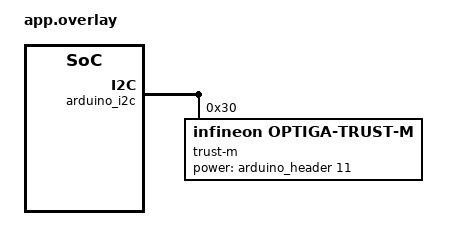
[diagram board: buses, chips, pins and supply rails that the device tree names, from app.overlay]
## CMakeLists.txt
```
# SPDX-License-Identifier: Apache-2.0

cmake_minimum_required(VERSION 3.13.1)

include($ENV{ZEPHYR_BASE}/cmake/app/boilerplate.cmake NO_POLICY_SCOPE)

project(optiga_trust_m)

FILE(GLOB app_sources src/*.c)
target_sources(app PRIVATE ${app_sources})
target_include_directories(app PRIVATE include/)
```

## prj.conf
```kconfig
CONFIG_LOG=y

CONFIG_I2C=y
#CONFIG_STDOUT_CONSOLE=y
CONFIG_DEBUG=y
#CONFIG_UART_CONSOLE=n
#CONFIG_RTT_CONSOLE=y
CONFIG_USE_SEGGER_RTT=n
CONFIG_CRYPTO=y
CONFIG_OPTIGA=y
CONFIG_CRYPTO_LOG_LEVEL_WRN=y
CONFIG_MAIN_STACK_SIZE=4096
CONFIG_LOG_BUFFER_SIZE=2048
CONFIG_ASSERT=y
CONFIG_POLL=y
CONFIG_STACK_CANARIES=y
CONFIG_ENTROPY_GENERATOR=y
CONFIG_HW_STACK_PROTECTION=y
CONFIG_I2C_LOG_LEVEL_OFF=y

# needed for mbedTLS
CONFIG_MINIMAL_LIBC_MALLOC_ARENA_SIZE=1024

# needed for shielded connection
CONFIG_MBEDTLS=y
CONFIG_MBEDTLS_CIPHER_CCM_ENABLED=y
```

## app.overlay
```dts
&arduino_i2c {
    trustx@30 {
        status = "okay";
        compatible = "infineon,optiga-trust-m";
        reg = <0x30>;
        label = "trust-m";
		/* Power control pin (D4) for Infineon MYIOT adapter board Slot 1*/
		/* power-gpios = <&arduino_header 10 GPIO_ACTIVE_HIGH>; */
		/* Power control pin (GPIO1 connected to A3) for Infineon OPTIGA Trust M S2G on MYIOT adapter */
		/* power-gpios = <&arduino_header 3 GPIO_ACTIVE_HIGH>; */
		/* Power control pin (GPIO4 connected to D5) for modified Infineon OPTIGA Trust M S2G on MYIOT adapter Slot 1 */
		power-gpios = <&arduino_header 11 GPIO_ACTIVE_HIGH>;
    };
};
```

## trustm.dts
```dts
&arduino_i2c {
    trustx@30 {
        status = "okay";
        compatible = "infineon,optiga-trust-m";
        reg = <0x30>;
        label = "trust-m";
		/* Power control pin (D4) for Infineon MYIOT adapter board Slot 1*/
		power-gpios = <&arduino_header 10 GPIO_ACTIVE_HIGH>;
    };
};
```

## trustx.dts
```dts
&arduino_i2c {
    trustx@30 {
        status = "okay";
        compatible = "infineon,optiga-trust-x";
        reg = <0x30>;
        label = "trust-x";
    };
};
```

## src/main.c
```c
/*
 * Copyright (c) 2019-2020 Infineon Technologies AG
 *
 * SPDX-License-Identifier: Apache-2.0
 */

#include <zephyr.h>
#include <drivers/crypto/optiga_trust_m.h>

#include <logging/log.h>
LOG_MODULE_REGISTER(main, CONFIG_LOG_DEFAULT_LEVEL);
struct device *dev = NULL;

/* APDU buffer for the command library */
static uint8_t apdu_buf[OPTRUST_CERT_READ_APDU_SIZE] = { 0 };

/* Context for the command library */
static struct optrust_ctx ctx;

static void start_shielded_connection(void)
{
	/* Platform Binding Secret used for this example and testing */
	static const uint8_t psk[OPTRUST_SHIELD_PSK_LEN] = {
		0x00, 0x01, 0x02, 0x03, 0x04, 0x05, 0x06, 0x07, 0x08, 0x09, 0x0A, 0x0B, 0x0C, 0x0D, 0x0E, 0x0F, /* 16 bytes data */
		0x00, 0x01, 0x02, 0x03, 0x04, 0x05, 0x06, 0x07, 0x08, 0x09, 0x0A, 0x0B, 0x0C, 0x0D, 0x0E, 0x0F, /* 16 bytes data */
		0x00, 0x01, 0x02, 0x03, 0x04, 0x05, 0x06, 0x07, 0x08, 0x09, 0x0A, 0x0B, 0x0C, 0x0D, 0x0E, 0x0F, /* 16 bytes data */
		0x00, 0x01, 0x02, 0x03, 0x04, 0x05, 0x06, 0x07, 0x08, 0x09, 0x0A, 0x0B, 0x0C, 0x0D, 0x0E, 0x0F, /* 16 bytes data */
	};

	int64_t start_time = k_uptime_get();

	/*
	 * Set platform binding secret to known value for this example.
	 * In production devices, this would be done in the personalization phase.
	 */
	int res = optrust_data_set(&ctx, OPTRUST_OID_PLATFORM_BINDING_SECRET, true, 0, psk, OPTRUST_SHIELD_PSK_LEN);

	LOG_INF("set platform binding secret res: %d, took %dms", res, (int) k_uptime_delta(&start_time));

	start_time = k_uptime_get();

	/* Start shielded connection */
	res = optrust_shielded_connection_psk_start(&ctx, psk, OPTRUST_SHIELD_PSK_LEN);

	LOG_INF("optrust_shielded_connection_psk_start res: %d, took %dms", res, (int) k_uptime_delta(&start_time));
}

/* A random hash so that we have something to sign */
static const uint8_t test_digest[OPTRUST_SHA256_DIGEST_LEN] = {
	0x7F, 0x83, 0xB1, 0x65, 0x7F, 0xF1, 0xFC, 0x53, 0xB9, 0x2D, 0xC1, 0x81, 0x48, 0xA1, 0xD6, 0x5D,
	0xFC, 0x2D, 0x4B, 0x1F, 0xA3, 0xD6, 0x77, 0x28, 0x4A, 0xDD, 0xD2, 0x00, 0x12, 0x6D, 0x90, 0x69
};

/*
 * In this example, the complete flow of an RSA signature operation is demonstrated.
 * It starts with generating a key pair on the OPTIGA Trust M, continues with the
 * signature operation and finishes with the signature verification.
 */
static void example_rsa()
{
	/* OID to store the secret key */
	const uint16_t sec_key_oid = OPTRUST_OID_RSA_KEY_1;
	const enum OPTRUST_KEY_USAGE_FLAG key_usage = OPTRUST_KEY_USAGE_FLAG_SIGN;
	const enum OPTRUST_ALGORITHM key_alg = OPTRUST_ALGORITHM_RSA_2048;
	const enum OPTRUST_SIGNATURE_SCHEME sig_scheme = OPTRUST_SIGNATURE_SCHEME_PKCS1_v1_5_SHA256;

	uint8_t pub_key[OPTRUST_RSA2048_PUB_KEY_LEN] = { 0 };
	size_t pub_key_len = OPTRUST_RSA2048_PUB_KEY_LEN;

	LOG_INF("Generating RSA key pair, this might take a few seconds");

	int64_t start_time = k_uptime_get();
	int res = optrust_rsa_gen_keys_oid(&ctx, sec_key_oid, key_alg, key_usage, pub_key, &pub_key_len);

	LOG_INF("optrust_rsa_gen_keys_oid res: %d, took %dms", res, (int) k_uptime_delta(&start_time));
	LOG_HEXDUMP_INF(pub_key, pub_key_len, "RSA Public Key:");

	/* Sign some data using RSA */

	uint8_t signature[OPTRUST_RSA2048_SIGNATURE_LEN] = { 0 };
	size_t signature_len = OPTRUST_RSA2048_SIGNATURE_LEN;

	start_time = k_uptime_get();

	/* Use the device key to create a signature */
	res = optrust_rsa_sign_oid(&ctx, sec_key_oid, sig_scheme,
				   test_digest, OPTRUST_SHA256_DIGEST_LEN,
				   signature, &signature_len);

	LOG_INF("optrust_rsa_sign_oid res: %d, took %dms", res, (int) k_uptime_delta(&start_time));
	LOG_HEXDUMP_INF(signature, signature_len, "RSA Signature:");

	/* Verify RSA signature */
	start_time = k_uptime_get();

	res = optrust_rsa_verify_ext(&ctx, sig_scheme,
				     key_alg, pub_key, pub_key_len,
				     test_digest, OPTRUST_SHA256_DIGEST_LEN,
				     signature, signature_len);

	LOG_INF("optrust_rsa_verify_ext res: %d, took %dms", res, (int) k_uptime_delta(&start_time));
	LOG_INF("RSA Verify: %s", res == 0 ? "PASS" : "FAIL");
}

/*
 * In this example, the complete flow of an ECC signature operation is demonstrated.
 * It starts with generating a key pair on the OPTIGA Trust M, continues with the
 * signature operation and finishes with the signature verification.
 */
static void example_ecc()
{
	/* OID to store the secret key, slot 1 is already provisioned */
	const uint16_t sec_key_oid = OPTRUST_OID_ECC_KEY_2;
	const enum OPTRUST_KEY_USAGE_FLAG key_usage = OPTRUST_KEY_USAGE_FLAG_SIGN;
	const enum OPTRUST_ALGORITHM key_alg = OPTRUST_ALGORITHM_NIST_P256;
	uint8_t pub_key[OPTRUST_NIST_P256_PUB_KEY_LEN] = { 0 };
	size_t pub_key_len = OPTRUST_NIST_P256_PUB_KEY_LEN;

	int64_t start_time = k_uptime_get();

	/* Generate an ECC keypair and export the public key */
	int res = optrust_ecc_gen_keys_oid(&ctx, sec_key_oid, key_alg, key_usage, pub_key, &pub_key_len);

	LOG_INF("optrust_ecc_gen_keys_oid res: %d, took %dms", res, (int) k_uptime_delta(&start_time));
	LOG_HEXDUMP_INF(pub_key, OPTRUST_NIST_P256_PUB_KEY_LEN, "Public key:");

	uint8_t signature[OPTRUST_NIST_P256_SIGNATURE_LEN] = { 0 };
	size_t signature_len = OPTRUST_NIST_P256_SIGNATURE_LEN;

	start_time = k_uptime_get();

	/* Use the secret key to create a signature */
	res = optrust_ecdsa_sign_oid(&ctx, sec_key_oid, test_digest, OPTRUST_SHA256_DIGEST_LEN,
				     signature, &signature_len);

	LOG_INF("optrust_ecdsa_sign_oid res: %d, took %dms", res, (int) k_uptime_delta(&start_time));
	LOG_HEXDUMP_INF(signature, OPTRUST_NIST_P256_SIGNATURE_LEN, "Signature:");

	start_time = k_uptime_get();
	/* Verify the generated signature */
	res = optrust_ecdsa_verify_ext(&ctx, key_alg, pub_key, pub_key_len,
				       test_digest, OPTRUST_SHA256_DIGEST_LEN,
				       signature, signature_len);
	LOG_INF("optrust_ecdsa_verify_ext res: %d, took %dms", res, (int) k_uptime_delta(&start_time));
	LOG_INF("ECDSA Verify: %s", res == 0 ? "PASS" : "FAIL");
}

/*
 * In this example, the complete flow of an ECC signature operation when the key is
 * used only temporarlily is described.
 * It starts with generating a key pair on the OPTIGA Trust M in a session context,
 * continues with the signature operation and finishes with the signature verification.
 */
static void example_session_ctx()
{
	/* Acquire a session to temporarily store the key */
	uint16_t sec_key_oid = 0;
	int res = optrust_session_acquire(&ctx, &sec_key_oid);

	if (res != 0) {
		LOG_ERR("Failed to request session context");
		return;
	}

	const enum OPTRUST_KEY_USAGE_FLAG key_usage = OPTRUST_KEY_USAGE_FLAG_SIGN;
	const enum OPTRUST_ALGORITHM key_alg = OPTRUST_ALGORITHM_NIST_P256;
	uint8_t pub_key[OPTRUST_NIST_P256_PUB_KEY_LEN] = { 0 };
	size_t pub_key_len = OPTRUST_NIST_P256_PUB_KEY_LEN;

	int64_t start_time = k_uptime_get();

	/* Generate an ECC private key in the session context and export the public key */
	res = optrust_ecc_gen_keys_oid(&ctx, sec_key_oid, key_alg, key_usage,
				       pub_key, &pub_key_len);

	LOG_INF("optrust_ecc_gen_keys_oid res: %d, took %dms", res, (int) k_uptime_delta(&start_time));
	LOG_HEXDUMP_INF(pub_key, OPTRUST_NIST_P256_PUB_KEY_LEN, "Public key:");

	uint8_t signature[OPTRUST_NIST_P256_SIGNATURE_LEN] = { 0 };
	size_t signature_len = OPTRUST_NIST_P256_SIGNATURE_LEN;

	start_time = k_uptime_get();

	/* Use the secret key in the session context to create a signature */
	res = optrust_ecdsa_sign_oid(&ctx, sec_key_oid, test_digest, OPTRUST_SHA256_DIGEST_LEN,
				     signature, &signature_len);

	LOG_INF("optrust_ecdsa_sign_oid res: %d, took %dms", res, (int) k_uptime_delta(&start_time));
	LOG_HEXDUMP_INF(signature, OPTRUST_NIST_P256_SIGNATURE_LEN, "Signature:");

	start_time = k_uptime_get();
	/* Verify the generated signature */
	res = optrust_ecdsa_verify_ext(&ctx, key_alg, pub_key, pub_key_len,
				       test_digest, OPTRUST_SHA256_DIGEST_LEN,
				       signature, signature_len);
	LOG_INF("optrust_ecdsa_verify_ext res: %d, took %dms", res, (int) k_uptime_delta(&start_time));
	LOG_INF("ECDSA Verify: %s", res == 0 ? "PASS" : "FAIL");

	/* Return the session context to the pool */
	optrust_session_release(&ctx, sec_key_oid);
}

static void example_power()
{
	uint8_t dummy[1] = { 0 };
	size_t dummy_len = 1;

	/* Read some data to make sure OPTIGA Trust M is awake */
	optrust_data_get(&ctx, OPTRUST_OID_COPROCESSOR_UID, 0, dummy, &dummy_len);
	LOG_INF("The OPTIGA Trust M will turn off in a few seconds to save power (Power LED off)");

	k_msleep(10000);

	LOG_INF("The OPTIGA Trust M will automatically turn on, to execute the next command (Power LED on)");
	optrust_data_get(&ctx, OPTRUST_OID_COPROCESSOR_UID, 0, dummy, &dummy_len);
}

void main(void)
{
	LOG_INF("Hello OPTIGA");

	/* Find device in DeviceTree */
	dev = device_get_binding("trust-m");
	if (dev == NULL) {
		LOG_INF("Could not get Trust M device\n");
		return;
	}

	LOG_INF("Found Trust M device");

	int64_t start_time = k_uptime_get();

	/* Initialize the command library */
	int res = optrust_init(&ctx, dev, apdu_buf, OPTRUST_CERT_READ_APDU_SIZE);

	LOG_INF("optrust_init res: %d, took %dms", res, (int) k_uptime_delta(&start_time));

	uint8_t coprocessor_uid[OPTRUST_COPROCESSOR_UID_LEN] = { 0 };
	size_t coprocessor_uid_len = OPTRUST_COPROCESSOR_UID_LEN;

	start_time = k_uptime_get();

	/* Read the Co-Processor UID as a basic test of the Trust M working */
	res = optrust_data_get(&ctx, OPTRUST_OID_COPROCESSOR_UID, 0, coprocessor_uid, &coprocessor_uid_len);

	LOG_INF("optrust_data_get res: %d, took %dms", res, (int) k_uptime_delta(&start_time));
	LOG_HEXDUMP_INF(coprocessor_uid, coprocessor_uid_len, "Co-processor UID:");

	/* Activate Shielded Connection */
	start_shielded_connection();

	/* More detailed examples */
	example_ecc();
	example_rsa();
	example_session_ctx();
	example_power();

	LOG_INF("Examples finished");
}
```

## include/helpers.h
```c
/**
* MIT License
*
* Copyright (c) 2018 Infineon Technologies AG
*
* Permission is hereby granted, free of charge, to any person obtaining a copy
* of this software and associated documentation files (the "Software"), to deal
* in the Software without restriction, including without limitation the rights
* to use, copy, modify, merge, publish, distribute, sublicense, and/or sell
* copies of the Software, and to permit persons to whom the Software is
* furnished to do so, subject to the following conditions:
*
* The above copyright notice and this permission notice shall be included in all
* copies or substantial portions of the Software.
*
* THE SOFTWARE IS PROVIDED "AS IS", WITHOUT WARRANTY OF ANY KIND, EXPRESS OR
* IMPLIED, INCLUDING BUT NOT LIMITED TO THE WARRANTIES OF MERCHANTABILITY,
* FITNESS FOR A PARTICULAR PURPOSE AND NONINFRINGEMENT. IN NO EVENT SHALL THE
* AUTHORS OR COPYRIGHT HOLDERS BE LIABLE FOR ANY CLAIM, DAMAGES OR OTHER
* LIABILITY, WHETHER IN AN ACTION OF CONTRACT, TORT OR OTHERWISE, ARISING FROM,
* OUT OF OR IN CONNECTION WITH THE SOFTWARE OR THE USE OR OTHER DEALINGS IN THE
* SOFTWARE
*
*/

#ifndef APP_TESTS_HELPERS_H_
#define APP_TESTS_HELPERS_H_

#include <stddef.h>
#include <inttypes.h>

int equals(const void * buf1, size_t len1, const void * buf2, size_t len2);
int is_zeroed(const uint8_t * buf, size_t len);

#endif /* APP_TESTS_HELPERS_H_ */
```

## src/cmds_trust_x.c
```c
/*
 * Copyright (c) 2019-2020 Infineon Technologies AG
 *
 * SPDX-License-Identifier: Apache-2.0
 */

#include <zephyr.h>
#include <drivers/crypto/optiga.h>
#include <sys/byteorder.h>

#include "cmds_trust_x.h"
#include "ecdsa_utils.h"

#define LOG_LEVEL CONFIG_CRYPTO_LOG_LEVEL
#include <logging/log.h>
LOG_MODULE_REGISTER(cmds_x);

enum OPTIGA_TRUSTX_CMD {
	OPTIGA_TRUSTX_CMD_GET_DATA_OBJECT =	0x81,
	OPTIGA_TRUSTX_CMD_SET_DATA_OBJECT =	0x82,
	OPTIGA_TRUSTX_CMD_CALC_SIGN =		0xB1,
	OPTIGA_TRUSTX_CMD_VERIFY_SIGN =		0xB2,
	OPTIGA_TRUSTX_CMD_GEN_KEYPAIR =		0xB8,
};

/* Parameters for SetDataObject command, see Table 9 */
enum OPTIGA_TRUSTX_SET_DATA_OBJECT {
	OPTIGA_TRUSTX_SET_DATA_OBJECT_WRITE_DATA = 0x00,
	OPTIGA_TRUSTX_SET_DATA_OBJECT_WRITE_METADATA = 0x01,
	OPTIGA_TRUSTX_SET_DATA_OBJECT_ERASE_WRITE_DATA = 0x40,
};

/* Transmitted APDU fields */
#define OPTIGA_TRUSTX_CMD_OFFSET 0
#define OPTIGA_TRUSTX_PARAM_OFFSET 1
#define OPTIGA_TRUSTX_IN_LEN_OFFSET 2
#define OPTIGA_TRUSTX_IN_DATA_OFFSET 4

#define OPTIGA_TRUSTX_IN_LEN_MAX 0xFFFF

/* Response APDU fields */
#define OPTIGA_TRUSTX_STA_OFFSET 0
#define OPTIGA_TRUSTX_OUT_LEN_OFFSET 2
#define OPTIGA_TRUSTX_OUT_DATA_OFFSET 4

#define SET_TLV_OVERHEAD 3
static size_t set_tlv(u8_t *buf, u8_t tag, const u8_t *val, size_t val_len)
{
	buf[0] = tag;
	sys_put_be16(val_len, &buf[1]);
	memcpy(&buf[3], val, val_len);
	return val_len + SET_TLV_OVERHEAD;
}

#define SET_TLV_U8_LEN 4
static size_t set_tlv_u8(u8_t *buf, u8_t tag, u8_t val)
{
	buf[0] = tag;
	sys_put_be16(1, &buf[1]);
	buf[3] = val;
	return SET_TLV_U8_LEN;
}

#define SET_TLV_U16_LEN 5
static size_t set_tlv_u16(u8_t *buf, u8_t tag, u16_t val)
{
	buf[0] = tag;
	sys_put_be16(2, &buf[1]);
	sys_put_be16(val, &buf[3]);
	return SET_TLV_U16_LEN;
}

static size_t cmds_set_apdu_header(u8_t *apdu_start, enum OPTIGA_TRUSTX_CMD cmd, u8_t param, u16_t in_len)
{
	apdu_start[OPTIGA_TRUSTX_CMD_OFFSET] = cmd;
	apdu_start[OPTIGA_TRUSTX_PARAM_OFFSET] = param;
	sys_put_be16(in_len, &apdu_start[OPTIGA_TRUSTX_IN_LEN_OFFSET]);
	return OPTIGA_TRUSTX_IN_DATA_OFFSET;
}

static size_t cmds_get_apdu_header(u8_t *apdu_start, u8_t *sta, u16_t *out_len)
{
	if (sta) {
		*sta = apdu_start[OPTIGA_TRUSTX_STA_OFFSET];
	}

	if (out_len) {
		*out_len = sys_get_be16(&apdu_start[OPTIGA_TRUSTX_OUT_LEN_OFFSET]);
	}

	return OPTIGA_TRUSTX_IN_DATA_OFFSET;
}


int cmds_trust_x_init(struct cmds_ctx *ctx, struct device *dev, u8_t *apdu_buf, size_t apdu_buf_len)
{
	ctx->dev = dev;
	ctx->apdu_buf = apdu_buf;
	ctx->apdu_buf_len = apdu_buf_len;

	return 0;
}

void cmds_trust_x_free(struct cmds_ctx *ctx)
{
}

static int cmds_submit_apdu(struct cmds_ctx *ctx)
{
	optiga_enqueue_apdu(ctx->dev, &ctx->apdu);

	struct k_poll_event events[1] = {
        K_POLL_EVENT_INITIALIZER(K_POLL_TYPE_SIGNAL,
                                 K_POLL_MODE_NOTIFY_ONLY,
                                 &ctx->apdu.finished),
	};

	k_poll(events, 1, K_FOREVER);
	return events[0].signal->result;
}

#define OPTIGA_GET_DATA_CMD_LEN 10
int cmds_trust_x_get_data_object(struct cmds_ctx *ctx, u16_t oid, size_t offs, u8_t *buf, size_t *len)
{
	u8_t *tx_buf = ctx->apdu_buf;
	__ASSERT(ctx->apdu_buf_len >= OPTIGA_GET_DATA_CMD_LEN, "APDU buffer too small");

	tx_buf += cmds_set_apdu_header(tx_buf,
				OPTIGA_TRUSTX_CMD_GET_DATA_OBJECT,
				0x00, /* Read data */
				0x06 /* Command len, see datasheet Table 8 */);

	/* OID */
	sys_put_be16(oid, tx_buf);
	tx_buf += 2;

	/* Offset */
	sys_put_be16(offs, tx_buf);
	tx_buf += 2;

	/* Length */
	sys_put_be16(*len, tx_buf);
	tx_buf += 2;

	/*
	 * Setup APDU for cmd queue, reuse the tx_buf for receiving,
	 * we don't need the written data
	 */
	ctx->apdu.tx_buf = ctx->apdu_buf;
	ctx->apdu.tx_len = tx_buf - ctx->apdu_buf;
	ctx->apdu.rx_buf = ctx->apdu_buf;
	ctx->apdu.rx_len = ctx->apdu_buf_len;

	int result_code = cmds_submit_apdu(ctx);

	if(result_code != OPTIGA_STATUS_CODE_SUCCESS) {
		LOG_INF("GetDataObject Error Code: %d", result_code);
		return -EIO;
	}

	/* Parse response */

	/* need at least the 4 bytes of response data */
	__ASSERT(ctx->apdu.rx_len >= 4, "Malformed APDU");

	u8_t *rx_buf = ctx->apdu.rx_buf;

	u8_t sta = 0;
	u16_t out_len = 0;
	rx_buf += cmds_get_apdu_header(rx_buf, &sta, &out_len);

	/* Failed APDUs should never reach this layer */
	__ASSERT(sta == 0x00, "Unexpected failed APDU");

	/* Ensure length of APDU and length of buffer match */
	if (out_len != (ctx->apdu.rx_len - OPTIGA_TRUSTX_OUT_DATA_OFFSET)) {
		LOG_ERR("Incomplete APDU");
		return -EIO;
	}

	if(out_len > *len) {
		return -ENOMEM;
	}

	memcpy(buf, rx_buf, out_len);
	*len = out_len;
	return 0;
}

int cmds_trust_x_set_data_object(struct cmds_ctx *ctx, u16_t oid, bool erase, size_t offs, const u8_t *buf, size_t len)
{
	u8_t *tx_buf = ctx->apdu_buf;

	__ASSERT(ctx->apdu_buf_len >= (len + 8), "APDU buffer too small");

	if(len + 4 > OPTIGA_TRUSTX_IN_LEN_MAX) {
		LOG_ERR("Overflow in APDU header");
		return -EINVAL;
	}

	const u8_t param = erase ? OPTIGA_TRUSTX_SET_DATA_OBJECT_ERASE_WRITE_DATA
		: OPTIGA_TRUSTX_SET_DATA_OBJECT_WRITE_DATA;

	tx_buf += cmds_set_apdu_header(tx_buf,
				OPTIGA_TRUSTX_CMD_SET_DATA_OBJECT,
				param, /* Param */
				len + 4 /* Length of the Tx APDU */
			);

	/* OID */
	sys_put_be16(oid, tx_buf);
	tx_buf += 2;

	/* Offset */
	sys_put_be16(offs, tx_buf);
	tx_buf += 2;

	/* Data */
	memcpy(tx_buf, buf, len);
	tx_buf += len;

	/* Setup APDU for cmd queue */
	ctx->apdu.tx_buf = ctx->apdu_buf;
	ctx->apdu.tx_len = tx_buf - ctx->apdu_buf;
	ctx->apdu.rx_buf = tx_buf;
	ctx->apdu.rx_len = ctx->apdu_buf_len - ctx->apdu.tx_len;

	int result_code = cmds_submit_apdu(ctx);

	if(result_code != OPTIGA_STATUS_CODE_SUCCESS) {
		LOG_INF("SetDataObject Error Code: %d", result_code);
		return -EIO;
	}

	return 0;
}

int cmds_trust_x_sign_ecdsa(struct cmds_ctx *ctx, u16_t oid, const u8_t *digest, size_t digest_len, u8_t *signature, size_t signature_len)
{
	u8_t *tx_buf = ctx->apdu_buf;

	__ASSERT(ctx->apdu_buf_len >= (digest_len + 12), "APDU buffer too small");
	if(digest_len + 8 > 0xFFFF) {
		LOG_ERR("Overflow in APDU header");
		return -EINVAL;
	}

	tx_buf += cmds_set_apdu_header(tx_buf,
				OPTIGA_TRUSTX_CMD_CALC_SIGN,
				0x11, /* ECDSA FIPS 186-3 w/o hash */
				digest_len + 8 /* Length of the Tx APDU */
			);

	/* Digest to be signed */
	tx_buf += set_tlv(tx_buf, 0x01, digest, digest_len);

	/* OID of signature key */
	tx_buf += set_tlv_u16(tx_buf, 0x03, oid);

	/* Setup APDU for cmd queue */
	ctx->apdu.tx_buf = ctx->apdu_buf;
	ctx->apdu.tx_len = tx_buf - ctx->apdu_buf;
	ctx->apdu.rx_buf = tx_buf;
	ctx->apdu.rx_len = ctx->apdu_buf_len - ctx->apdu.tx_len;

	int result_code = cmds_submit_apdu(ctx);

	if(result_code != OPTIGA_STATUS_CODE_SUCCESS) {
		LOG_INF("SetDataObject Error Code: %d", result_code);
		return -EIO;
	}

	/* Parse response */

	/* need at least the 4 bytes of response data */
	__ASSERT(ctx->apdu.rx_len >= 4, "Malformed APDU");

	u8_t *rx_buf = ctx->apdu.rx_buf;

	u8_t sta = 0;
	u16_t out_len = 0;
	rx_buf += cmds_get_apdu_header(rx_buf, &sta, &out_len);

	/* Failed APDUs should never reach this layer */
	__ASSERT(sta == 0x00, "Unexpected failed APDU");

	/* Ensure length of APDU and length of buffer match */
	if (out_len != (ctx->apdu.rx_len - OPTIGA_TRUSTX_OUT_DATA_OFFSET)) {
		LOG_ERR("Incomplete APDU");
		return -EIO;
	}

	/* decode to raw RS values */
	bool success = asn1_to_ecdsa_rs(rx_buf, out_len, signature, signature_len);
	if(!success) {
		LOG_ERR("Failed to decode signature");
		return -EIO;
	}

	return 0;
}

int cmds_trust_x_verify_ecdsa_oid(struct cmds_ctx *ctx, u16_t oid, const u8_t *digest, size_t digest_len, const u8_t *signature, size_t signature_len)
{
	u8_t *tx_buf = ctx->apdu_buf;

	__ASSERT(ctx->apdu_buf_len >= (digest_len + 15), "APDU buffer too small");

	tx_buf += OPTIGA_TRUSTX_IN_DATA_OFFSET;

	/* Digest */
	tx_buf += set_tlv(tx_buf, 0x01, digest, digest_len);

	/* Second parameter */
	*tx_buf = 0x02;
	tx_buf++;

	/* we don't know the lenght of the signature data yet, remember the position */
	u8_t * const sig_len_field = tx_buf;
	tx_buf += 2;

	/* Signature */
	__ASSERT((signature_len % 2) == 0, "Signature must have even number of bytes");
	size_t asn1_sig_len = ctx->apdu_buf_len - (ctx->apdu_buf - tx_buf);

	bool success = ecdsa_rs_to_asn1_integers(signature, signature + signature_len/2, signature_len/2, tx_buf, &asn1_sig_len);
	if(!success) {
		LOG_ERR("Couldn't encode signature");
		return -EINVAL;
	}
	tx_buf += asn1_sig_len;

	if(digest_len + 11 + asn1_sig_len > OPTIGA_TRUSTX_IN_LEN_MAX) {
		LOG_ERR("Overflow in APDU header");
		return -EINVAL;
	}

	/* length of signature is known now */
	sys_put_be16(asn1_sig_len, sig_len_field);

	/* length of whole apdu is also known now */
	cmds_set_apdu_header(ctx->apdu_buf,
				OPTIGA_TRUSTX_CMD_VERIFY_SIGN,
				0x11, /* ECDSA FIPS 186-3 w/o hash */
				digest_len + 11 + asn1_sig_len /* Length of the Tx APDU */
			);

	/* OID of Public Key Certificate */
	tx_buf += set_tlv_u16(tx_buf, 0x04, oid);

	/* Setup APDU for cmd queue */
	ctx->apdu.tx_buf = ctx->apdu_buf;
	ctx->apdu.tx_len = tx_buf - ctx->apdu_buf;
	ctx->apdu.rx_buf = tx_buf;
	ctx->apdu.rx_len = ctx->apdu_buf_len - ctx->apdu.tx_len;

	int result_code = cmds_submit_apdu(ctx);

	if(result_code != OPTIGA_STATUS_CODE_SUCCESS) {
		LOG_INF("SetDataObject Error Code: %d", result_code);
		return -EIO;
	}

	/* Parse response */

	/* need at least the 4 bytes of response data */
	__ASSERT(ctx->apdu.rx_len >= 4, "Malformed APDU");

	u8_t *rx_buf = ctx->apdu.rx_buf;

	u8_t sta = 0;
	u16_t out_len = 0;
	cmds_get_apdu_header(rx_buf, &sta, &out_len);

	/* Failed APDUs should never reach this layer */
	__ASSERT(sta == 0x00, "Unexpected failed APDU");
	__ASSERT(out_len == 0, "Unexpected data returned");

	return 0;
}

int cmds_trust_x_gen_key_ecdsa(struct cmds_ctx *ctx, u16_t oid, enum CMDS_TRUSTX_ALGORITHM alg,
				enum CMDS_TRUSTX_KEY_USAGE_FLAG key_usage, u8_t *pub_key, size_t *pub_key_len)
{
	u8_t *tx_buf = ctx->apdu_buf;
	__ASSERT(ctx->apdu_buf_len >= 11, "APDU buffer too small");
	__ASSERT(pub_key_len != NULL, "Invalid NULL pointer");

	switch(alg) {
		case CMDS_TRUSTX_ALGORITHM_NIST_P256:
			if(*pub_key_len < CMDS_TRUSTX_NIST_P256_PUB_KEY_LEN) {
				return -EINVAL;
			}
			*pub_key_len = CMDS_TRUSTX_NIST_P256_PUB_KEY_LEN;
			break;
		case CMDS_TRUSTX_ALGORITHM_NIST_P384:
			if(*pub_key_len < CMDS_TRUSTX_NIST_P384_PUB_KEY_LEN) {
				return -EINVAL;
			}
			*pub_key_len = CMDS_TRUSTX_NIST_P384_PUB_KEY_LEN;
			break;
		default:
			return -EINVAL;
	}


	tx_buf += cmds_set_apdu_header(tx_buf,
				OPTIGA_TRUSTX_CMD_GEN_KEYPAIR,
				alg, /* Key algorithm */
				0x09 /* Command len, see datasheet Table 19 */);

	/* OID */
	tx_buf += set_tlv_u16(tx_buf, 0x01, oid);

	/* Key usage identifier */
	tx_buf += set_tlv_u8(tx_buf, 0x02, key_usage);

	/*
	 * Setup APDU for cmd queue, reuse the tx_buf for receiving,
	 * we don't need the written data
	 */
	ctx->apdu.tx_buf = ctx->apdu_buf;
	ctx->apdu.tx_len = tx_buf - ctx->apdu_buf;
	ctx->apdu.rx_buf = ctx->apdu_buf;
	ctx->apdu.rx_len = ctx->apdu_buf_len;

	int result_code = cmds_submit_apdu(ctx);

	if(result_code != OPTIGA_STATUS_CODE_SUCCESS) {
		LOG_INF("GetDataObject Error Code: %d", result_code);
		return -EIO;
	}

	/* Parse response */

	/* need at least the 4 bytes of response data */
	__ASSERT(ctx->apdu.rx_len >= 4, "Malformed APDU");

	u8_t *rx_buf = ctx->apdu.rx_buf;

	u8_t sta = 0;
	u16_t out_len = 0;
	rx_buf += cmds_get_apdu_header(rx_buf, &sta, &out_len);

	/* Failed APDUs should never reach this layer */
	__ASSERT(sta == 0x00, "Unexpected failed APDU");

	/* Ensure length of APDU and length of buffer match */
	if (out_len != (ctx->apdu.rx_len - OPTIGA_TRUSTX_OUT_DATA_OFFSET)) {
		LOG_ERR("Incomplete APDU");
		return -EIO;
	}

	__ASSERT(rx_buf[0] == 0x02, "Received Key not a pub key");

	// TODO(chr): decide if we can skip ASN.1 decoding
	/* the following decoding routine only works if the public key has a fixed length */
	__ASSERT(out_len == (*pub_key_len + 7), "Assumption about pub key encoding was wrong");
	rx_buf += 3; // skip tag and length
	rx_buf += 4; // skip ASN.1 tag, length and 2 value bytes
	memcpy(pub_key, rx_buf, *pub_key_len);

	return 0;
}
```

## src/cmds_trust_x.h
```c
/*
 * Copyright (c) 2019-2020 Infineon Technologies AG
 *
 * SPDX-License-Identifier: Apache-2.0
 */

#ifndef CMDS_TRUST_X_H_
#define CMDS_TRUST_X_H_

#include <device.h>
#include <zephyr.h>
#include <zephyr/types.h>

#include <drivers/crypto/optiga.h>

// TODO(chr): find the maximum APDU size value
#define CMDS_TRUST_X_MAX_APDU_SIZE 1600

struct cmds_ctx {
	struct device *dev;
	u8_t *apdu_buf;
	size_t apdu_buf_len;
	struct optiga_apdu apdu;
};

/*
 * @brief Initialize a command context and bind it to a device
 *
 * @param ctx context to initialize
 * @param dev device to bind the context to
 * @param apdu_buf send and receive buffer for the APDU
 * @param apdu_buf_len length of apdu_buf
 */
int cmds_trust_x_init(struct cmds_ctx *ctx, struct device *dev, u8_t *apdu_buf, size_t apdu_buf_len);

/*
 * @brief Free and unbind the command context
 * @param ctx context to free
 */
void cmds_trust_x_free(struct cmds_ctx *ctx);

/*
 * @brief Read data from a data object in the OPTIGA
 *
 * @param ctx Command context to use
 * @param oid Object ID to read from
 * @param offs Number of bytes to skip from the beginning of the data object
 * @param buf Output buffer for the read data
 * @param len Must be set to the length of buf and returns the number of data bytes read
 * @return 0 on success, error code otherwise
 */
int cmds_trust_x_get_data_object(struct cmds_ctx *ctx, u16_t oid, size_t offs, u8_t *buf, size_t *len);

/*
 * @brief Write data to a data object in the OPTIGA
 *
 * @param ctx Command context to use
 * @param oid Object ID to write to
 * @param erase If true, erase data object before writing
 * @param offs Number of bytes to skip from the beginning of the data object
 * @param buf Data to write
 * @param len length of buf
 * @return 0 on success, error code otherwise
 */
int cmds_trust_x_set_data_object(struct cmds_ctx *ctx, u16_t oid, bool erase, size_t offs, const u8_t *buf, size_t len);


#define CMDS_TRUSTX_NIST_P256_PUB_KEY_LEN 64
#define CMDS_TRUSTX_NIST_P384_PUB_KEY_LEN 96

enum CMDS_TRUSTX_ALGORITHM {
	CMDS_TRUSTX_ALGORITHM_NIST_P256 = 0x03,
	CMDS_TRUSTX_ALGORITHM_NIST_P384 = 0x04,
	CMDS_TRUSTX_ALGORITHM_SHA256	= 0xE2
};

enum CMDS_TRUSTX_KEY_USAGE_FLAG {
	CMDS_TRUSTX_KEY_USAGE_FLAG_AUTH	= 0x01,
	CMDS_TRUSTX_KEY_USAGE_FLAG_ENC = 0x02,
	CMDS_TRUSTX_KEY_USAGE_FLAG_HOST_FW_UPDATE = 0x04,
	CMDS_TRUSTX_KEY_USAGE_FLAG_DEV_MGMT = 0x08,
	CMDS_TRUSTX_KEY_USAGE_FLAG_SIGN = 0x10,
};

/*
 * @brief Generate an ECDSA key pair and export the public key
 *
 * @param ctx Command context to use
 * @param oid Object ID to store the private key
 * @param alg Type of key pair to generate
 * @param key_usage Combination of CMDS_TRUSTX_KEY_USAGE_FLAG, see Solution Reference Manual, Table 39 for their meaning
 * @param pub_key Output buffer for the pulic key
 * @param pub_key_len length of pub_key, contains the length of the public key
 * @return 0 on success, error code otherwise
 *
 * @note The size of the public key buffer must match the selected algorithm or be bigger.
 */
int cmds_trust_x_gen_key_ecdsa(struct cmds_ctx *ctx, u16_t oid, enum CMDS_TRUSTX_ALGORITHM alg,
				enum CMDS_TRUSTX_KEY_USAGE_FLAG key_usage, u8_t *pub_key, size_t *pub_key_len);

#define CMDS_TRUSTX_NIST_P256_SIGNATURE_LEN 64
#define CMDS_TRUSTX_NIST_P384_SIGNATURE_LEN 96

/*
 * @brief Sign a digest using a private key in the OPTIGA
 *
 * @param ctx Command context to use
 * @param oid Object ID of the private key to use
 * @param digest Digest to sign
 * @param digest_len Length of digest
 * @param signature Output buffer for the signature
 * @param signature_len Length of signature buffer, contains length of signature afterwards.
 * @return 0 on success, error code otherwise
 */
int cmds_trust_x_sign_ecdsa(struct cmds_ctx *ctx, u16_t oid, const u8_t *digest, size_t digest_len, u8_t *signature, size_t signature_len);

/*
 * @brief Verify a signature using a public key in the OPTIGA
 *
 * @param ctx Command context to use
 * @param oid Object ID of the public key to use
 * @param digest Digest to verify the signature of
 * @param digest_len Length of digest
 * @param signature Signature to verify
 * @param signature_len Length of signature
 * @return 0 if the signature matches, error code otherwise
 */
int cmds_trust_x_verify_ecdsa_oid(struct cmds_ctx *ctx, u16_t oid, const u8_t *digest, size_t digest_len, const u8_t *signature, size_t signature_len);

#endif /* CMDS_TRUST_X_H_ */
```

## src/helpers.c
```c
/**
* MIT License
*
* Copyright (c) 2018 Infineon Technologies AG
*
* Permission is hereby granted, free of charge, to any person obtaining a copy
* of this software and associated documentation files (the "Software"), to deal
* in the Software without restriction, including without limitation the rights
* to use, copy, modify, merge, publish, distribute, sublicense, and/or sell
* copies of the Software, and to permit persons to whom the Software is
* furnished to do so, subject to the following conditions:
*
* The above copyright notice and this permission notice shall be included in all
* copies or substantial portions of the Software.
*
* THE SOFTWARE IS PROVIDED "AS IS", WITHOUT WARRANTY OF ANY KIND, EXPRESS OR
* IMPLIED, INCLUDING BUT NOT LIMITED TO THE WARRANTIES OF MERCHANTABILITY,
* FITNESS FOR A PARTICULAR PURPOSE AND NONINFRINGEMENT. IN NO EVENT SHALL THE
* AUTHORS OR COPYRIGHT HOLDERS BE LIABLE FOR ANY CLAIM, DAMAGES OR OTHER
* LIABILITY, WHETHER IN AN ACTION OF CONTRACT, TORT OR OTHERWISE, ARISING FROM,
* OUT OF OR IN CONNECTION WITH THE SOFTWARE OR THE USE OR OTHER DEALINGS IN THE
* SOFTWARE
*
*/

#include <string.h>
#include <inttypes.h>

// compares if two buffers have the same length and matching content
int equals(const void * buf1, size_t len1, const void * buf2, size_t len2)
{
	if((len1 == len2) && (memcmp(buf1, buf2, len1) == 0)) {
		return 1;
	}

	return 0;
}

// compares if a buffer is zeroed
int is_zeroed(const uint8_t * buf, size_t len)
{
	int is_one = 0;
	for(size_t i = 0; i < len; i++) {
		is_one |= buf[i];
	}

	return !is_one;
}
```

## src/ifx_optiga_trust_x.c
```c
/*
 * Copyright (c) 2019-2020 Infineon Technologies AG
 *
 * SPDX-License-Identifier: Apache-2.0
 */

#include <zephyr.h>
#include <drivers/crypto/optiga.h>
#include <sys/byteorder.h>

#include "ifx_optiga_trust_x.h"
#include "ecdsa_utils.h"

#define LOG_LEVEL CONFIG_CRYPTO_LOG_LEVEL
#include <logging/log.h>
LOG_MODULE_REGISTER(cmds_x);

#define U16_MAX (0xFFFF)

enum OPTIGA_TRUSTX_CMD {
	OPTIGA_TRUSTX_CMD_GET_DATA_OBJECT =	0x81,
	OPTIGA_TRUSTX_CMD_SET_DATA_OBJECT =	0x82,
	OPTIGA_TRUSTX_CMD_CALC_HASH =		0xB0,
	OPTIGA_TRUSTX_CMD_CALC_SIGN =		0xB1,
	OPTIGA_TRUSTX_CMD_VERIFY_SIGN =		0xB2,
	OPTIGA_TRUSTX_CMD_GEN_KEYPAIR =		0xB8,
};

/* Parameters for SetDataObject command, see Table 9 */
enum OPTIGA_TRUSTX_SET_DATA_OBJECT {
	OPTIGA_TRUSTX_SET_DATA_OBJECT_WRITE_DATA = 0x00,
	OPTIGA_TRUSTX_SET_DATA_OBJECT_WRITE_METADATA = 0x01,
	OPTIGA_TRUSTX_SET_DATA_OBJECT_ERASE_WRITE_DATA = 0x40,
};

/* Transmitted APDU fields */
#define OPTIGA_TRUSTX_CMD_OFFSET 0
#define OPTIGA_TRUSTX_PARAM_OFFSET 1
#define OPTIGA_TRUSTX_IN_LEN_OFFSET 2
#define OPTIGA_TRUSTX_IN_DATA_OFFSET 4

#define OPTIGA_TRUSTX_IN_LEN_MAX U16_MAX

/* Response APDU fields */
#define OPTIGA_TRUSTX_STA_OFFSET 0
#define OPTIGA_TRUSTX_OUT_LEN_OFFSET 2
#define OPTIGA_TRUSTX_OUT_DATA_OFFSET 4

#define SET_TLV_OVERHEAD 3
static size_t set_tlv(u8_t *buf, u8_t tag, const u8_t *val, size_t val_len)
{
	buf[0] = tag;
	sys_put_be16(val_len, &buf[1]);
	memcpy(&buf[3], val, val_len);
	return val_len + SET_TLV_OVERHEAD;
}

#define SET_TLV_U8_LEN 4
static size_t set_tlv_u8(u8_t *buf, u8_t tag, u8_t val)
{
	buf[0] = tag;
	sys_put_be16(1, &buf[1]);
	buf[3] = val;
	return SET_TLV_U8_LEN;
}

#define SET_TLV_U16_LEN 5
static size_t set_tlv_u16(u8_t *buf, u8_t tag, u16_t val)
{
	buf[0] = tag;
	sys_put_be16(2, &buf[1]);
	sys_put_be16(val, &buf[3]);
	return SET_TLV_U16_LEN;
}

static size_t cmds_set_apdu_header(u8_t *apdu_start, enum OPTIGA_TRUSTX_CMD cmd, u8_t param, u16_t in_len)
{
	apdu_start[OPTIGA_TRUSTX_CMD_OFFSET] = cmd;
	apdu_start[OPTIGA_TRUSTX_PARAM_OFFSET] = param;
	sys_put_be16(in_len, &apdu_start[OPTIGA_TRUSTX_IN_LEN_OFFSET]);
	return OPTIGA_TRUSTX_IN_DATA_OFFSET;
}

static size_t cmds_get_apdu_header(u8_t *apdu_start, u8_t *sta, u16_t *out_len)
{
	if (sta) {
		*sta = apdu_start[OPTIGA_TRUSTX_STA_OFFSET];
	}

	if (out_len) {
		*out_len = sys_get_be16(&apdu_start[OPTIGA_TRUSTX_OUT_LEN_OFFSET]);
	}

	return OPTIGA_TRUSTX_IN_DATA_OFFSET;
}


int optrust_init(struct optrust_ctx *ctx, struct device *dev, u8_t *apdu_buf, size_t apdu_buf_len)
{
	__ASSERT(ctx != NULL && dev != NULL && apdu_buf != NULL, "No NULL parameters allowed");

	ctx->dev = dev;
	ctx->apdu_buf = apdu_buf;
	ctx->apdu_buf_len = apdu_buf_len;

	return 0;
}

void optrust_deinit(struct optrust_ctx *ctx)
{
}

static int cmds_submit_apdu(struct optrust_ctx *ctx)
{
	optiga_enqueue_apdu(ctx->dev, &ctx->apdu);

	struct k_poll_event events[1] = {
        K_POLL_EVENT_INITIALIZER(K_POLL_TYPE_SIGNAL,
                                 K_POLL_MODE_NOTIFY_ONLY,
                                 &ctx->apdu.finished),
	};

	k_poll(events, 1, K_FOREVER);
	return events[0].signal->result;
}

#define OPTIGA_GET_DATA_CMD_LEN 10
int optrust_data_get(struct optrust_ctx *ctx, u16_t oid, size_t offs, u8_t *buf, size_t *len)
{
	__ASSERT(ctx != NULL && buf != NULL && len != NULL, "No NULL parameters allowed");
	__ASSERT(ctx->apdu_buf_len >= OPTIGA_GET_DATA_CMD_LEN, "APDU buffer too small");

	if (offs > U16_MAX || *len > U16_MAX) {
		/* Prevent overflow in parameter encoding */
		return -EINVAL;
	}

	u8_t *tx_buf = ctx->apdu_buf;
	tx_buf += cmds_set_apdu_header(tx_buf,
				OPTIGA_TRUSTX_CMD_GET_DATA_OBJECT,
				0x00, /* Read data */
				0x06 /* Command len, see datasheet Table 8 */);

	/* OID */
	sys_put_be16(oid, tx_buf);
	tx_buf += 2;

	/* Offset */
	sys_put_be16(offs, tx_buf);
	tx_buf += 2;

	/* Length */
	sys_put_be16(*len, tx_buf);
	tx_buf += 2;

	/*
	 * Setup APDU for cmd queue, reuse the tx_buf for receiving,
	 * we don't need the written data
	 */
	ctx->apdu.tx_buf = ctx->apdu_buf;
	ctx->apdu.tx_len = tx_buf - ctx->apdu_buf;
	ctx->apdu.rx_buf = ctx->apdu_buf;
	ctx->apdu.rx_len = ctx->apdu_buf_len;

	int result_code = cmds_submit_apdu(ctx);

	if(result_code != OPTIGA_STATUS_CODE_SUCCESS) {
		LOG_INF("GetDataObject Error Code: %d", result_code);
		return -EIO;
	}

	/* Parse response */

	/* need at least the 4 bytes of response data */
	__ASSERT(ctx->apdu.rx_len >= 4, "Malformed APDU");

	u8_t *rx_buf = ctx->apdu.rx_buf;

	u8_t sta = 0;
	u16_t out_len = 0;
	rx_buf += cmds_get_apdu_header(rx_buf, &sta, &out_len);

	/* Failed APDUs should never reach this layer */
	__ASSERT(sta == 0x00, "Unexpected failed APDU");

	/* Ensure length of APDU and length of buffer match */
	if (out_len != (ctx->apdu.rx_len - OPTIGA_TRUSTX_OUT_DATA_OFFSET)) {
		LOG_ERR("Incomplete APDU");
		return -EIO;
	}

	if(out_len > *len) {
		return -ENOMEM;
	}

	memcpy(buf, rx_buf, out_len);
	*len = out_len;
	return 0;
}

int optrust_data_set(struct optrust_ctx *ctx, u16_t oid, bool erase, size_t offs, const u8_t *buf, size_t len)
{
	__ASSERT(ctx != NULL && buf != NULL, "No NULL parameters allowed");
	__ASSERT(ctx->apdu_buf_len >= (len + 8), "APDU buffer too small");

	if(len + 4 > OPTIGA_TRUSTX_IN_LEN_MAX) {
		LOG_ERR("Overflow in APDU header");
		return -EINVAL;
	}

	if (offs > U16_MAX) {
		/* Prevent overflow in parameter encoding */
		return -EINVAL;
	}

	const u8_t param = erase ? OPTIGA_TRUSTX_SET_DATA_OBJECT_ERASE_WRITE_DATA
		: OPTIGA_TRUSTX_SET_DATA_OBJECT_WRITE_DATA;

	u8_t *tx_buf = ctx->apdu_buf;
	tx_buf += cmds_set_apdu_header(tx_buf,
				OPTIGA_TRUSTX_CMD_SET_DATA_OBJECT,
				param, /* Param */
				len + 4 /* Length of the Tx APDU */
			);

	/* OID */
	sys_put_be16(oid, tx_buf);
	tx_buf += 2;

	/* Offset */
	sys_put_be16(offs, tx_buf);
	tx_buf += 2;

	/* Data */
	memcpy(tx_buf, buf, len);
	tx_buf += len;

	/* Setup APDU for cmd queue */
	ctx->apdu.tx_buf = ctx->apdu_buf;
	ctx->apdu.tx_len = tx_buf - ctx->apdu_buf;
	ctx->apdu.rx_buf = tx_buf;
	ctx->apdu.rx_len = ctx->apdu_buf_len - ctx->apdu.tx_len;

	int result_code = cmds_submit_apdu(ctx);

	if(result_code != OPTIGA_STATUS_CODE_SUCCESS) {
		LOG_INF("SetDataObject Error Code: %d", result_code);
		return -EIO;
	}

	return 0;
}

int optrust_ecdsa_sign_oid(struct optrust_ctx *ctx, u16_t oid, const u8_t *digest, size_t digest_len, u8_t *signature, size_t signature_len)
{
	__ASSERT(ctx != NULL && digest != NULL && signature != NULL, "No NULL parameters allowed");
	__ASSERT(ctx->apdu_buf_len >= (digest_len + 12), "APDU buffer too small");
	if(digest_len + 8 > OPTIGA_TRUSTX_IN_LEN_MAX) {
		LOG_ERR("Overflow in APDU header");
		return -EINVAL;
	}

	u8_t *tx_buf = ctx->apdu_buf;
	tx_buf += cmds_set_apdu_header(tx_buf,
				OPTIGA_TRUSTX_CMD_CALC_SIGN,
				0x11, /* ECDSA FIPS 186-3 w/o hash */
				digest_len + 8 /* Length of the Tx APDU */
			);

	/* Digest to be signed */
	tx_buf += set_tlv(tx_buf, 0x01, digest, digest_len);

	/* OID of signature key */
	tx_buf += set_tlv_u16(tx_buf, 0x03, oid);

	/* Setup APDU for cmd queue */
	ctx->apdu.tx_buf = ctx->apdu_buf;
	ctx->apdu.tx_len = tx_buf - ctx->apdu_buf;
	ctx->apdu.rx_buf = tx_buf;
	ctx->apdu.rx_len = ctx->apdu_buf_len - ctx->apdu.tx_len;

	int result_code = cmds_submit_apdu(ctx);

	if(result_code != OPTIGA_STATUS_CODE_SUCCESS) {
		LOG_INF("SetDataObject Error Code: %d", result_code);
		return -EIO;
	}

	/* Parse response */

	/* need at least the 4 bytes of response data */
	__ASSERT(ctx->apdu.rx_len >= 4, "Malformed APDU");

	u8_t *rx_buf = ctx->apdu.rx_buf;

	u8_t sta = 0;
	u16_t out_len = 0;
	rx_buf += cmds_get_apdu_header(rx_buf, &sta, &out_len);

	/* Failed APDUs should never reach this layer */
	__ASSERT(sta == 0x00, "Unexpected failed APDU");

	/* Ensure length of APDU and length of buffer match */
	if (out_len != (ctx->apdu.rx_len - OPTIGA_TRUSTX_OUT_DATA_OFFSET)) {
		LOG_ERR("Incomplete APDU");
		return -EIO;
	}

	/* decode to raw RS values */
	bool success = asn1_to_ecdsa_rs(rx_buf, out_len, signature, signature_len);
	if(!success) {
		LOG_ERR("Failed to decode signature");
		return -EIO;
	}

	return 0;
}

int optrust_ecdsa_verify_oid(struct optrust_ctx *ctx, u16_t oid, const u8_t *digest, size_t digest_len, const u8_t *signature, size_t signature_len)
{
	__ASSERT(ctx != NULL && digest != NULL && signature != NULL, "No NULL parameters allowed");
	__ASSERT(ctx->apdu_buf_len >= (digest_len + 15), "APDU buffer too small");

	u8_t *tx_buf = ctx->apdu_buf;
	tx_buf += OPTIGA_TRUSTX_IN_DATA_OFFSET;

	/* Digest */
	tx_buf += set_tlv(tx_buf, 0x01, digest, digest_len);

	/* Second parameter */
	*tx_buf = 0x02;
	tx_buf++;

	/* we don't know the lenght of the signature data yet, remember the position */
	u8_t * const sig_len_field = tx_buf;
	tx_buf += 2;

	/* Signature */
	__ASSERT((signature_len % 2) == 0, "Signature must have even number of bytes");
	size_t asn1_sig_len = ctx->apdu_buf_len - (ctx->apdu_buf - tx_buf);

	bool success = ecdsa_rs_to_asn1_integers(signature, signature + signature_len/2, signature_len/2, tx_buf, &asn1_sig_len);
	if(!success) {
		LOG_ERR("Couldn't encode signature");
		return -EINVAL;
	}
	tx_buf += asn1_sig_len;

	if(digest_len + 11 + asn1_sig_len > OPTIGA_TRUSTX_IN_LEN_MAX) {
		LOG_ERR("Overflow in APDU header");
		return -EINVAL;
	}

	/* length of signature is known now */
	sys_put_be16(asn1_sig_len, sig_len_field);

	/* length of whole apdu is also known now */
	cmds_set_apdu_header(ctx->apdu_buf,
				OPTIGA_TRUSTX_CMD_VERIFY_SIGN,
				0x11, /* ECDSA FIPS 186-3 w/o hash */
				digest_len + 11 + asn1_sig_len /* Length of the Tx APDU */
			);

	/* OID of Public Key Certificate */
	tx_buf += set_tlv_u16(tx_buf, 0x04, oid);

	/* Setup APDU for cmd queue */
	ctx->apdu.tx_buf = ctx->apdu_buf;
	ctx->apdu.tx_len = tx_buf - ctx->apdu_buf;
	ctx->apdu.rx_buf = tx_buf;
	ctx->apdu.rx_len = ctx->apdu_buf_len - ctx->apdu.tx_len;

	int result_code = cmds_submit_apdu(ctx);

	if(result_code != OPTIGA_STATUS_CODE_SUCCESS) {
		LOG_INF("SetDataObject Error Code: %d", result_code);
		return -EIO;
	}

	/* Parse response */

	/* need at least the 4 bytes of response data */
	__ASSERT(ctx->apdu.rx_len >= 4, "Malformed APDU");

	u8_t *rx_buf = ctx->apdu.rx_buf;

	u8_t sta = 0;
	u16_t out_len = 0;
	cmds_get_apdu_header(rx_buf, &sta, &out_len);

	/* Failed APDUs should never reach this layer */
	__ASSERT(sta == 0x00, "Unexpected failed APDU");
	__ASSERT(out_len == 0, "Unexpected data returned");

	return 0;
}

int optrust_ecc_gen_keys_oid(struct optrust_ctx *ctx, u16_t oid, enum OPTRUST_ALGORITHM alg,
                enum OPTRUST_KEY_USAGE_FLAG key_usage, u8_t *pub_key, size_t *pub_key_len)
{
	__ASSERT(ctx != NULL && pub_key != NULL && pub_key_len != NULL, "No NULL parameters allowed");
	__ASSERT(ctx->apdu_buf_len >= 11, "APDU buffer too small");
	__ASSERT(pub_key_len != NULL, "Invalid NULL pointer");

	switch(alg) {
        case OPTRUST_ALGORITHM_NIST_P256:
            if(*pub_key_len < OPTRUST_NIST_P256_PUB_KEY_LEN) {
				return -EINVAL;
			}
            *pub_key_len = OPTRUST_NIST_P256_PUB_KEY_LEN;
			break;
        case OPTRUST_ALGORITHM_NIST_P384:
            if(*pub_key_len < OPTRUST_NIST_P384_PUB_KEY_LEN) {
				return -EINVAL;
			}
            *pub_key_len = OPTRUST_NIST_P384_PUB_KEY_LEN;
			break;
		default:
			return -EINVAL;
	}

	u8_t *tx_buf = ctx->apdu_buf;
	tx_buf += cmds_set_apdu_header(tx_buf,
				OPTIGA_TRUSTX_CMD_GEN_KEYPAIR,
				alg, /* Key algorithm */
				0x09 /* Command len, see datasheet Table 19 */);

	/* OID */
	tx_buf += set_tlv_u16(tx_buf, 0x01, oid);

	/* Key usage identifier */
	tx_buf += set_tlv_u8(tx_buf, 0x02, key_usage);

	/*
	 * Setup APDU for cmd queue, reuse the tx_buf for receiving,
	 * we don't need the written data
	 */
	ctx->apdu.tx_buf = ctx->apdu_buf;
	ctx->apdu.tx_len = tx_buf - ctx->apdu_buf;
	ctx->apdu.rx_buf = ctx->apdu_buf;
	ctx->apdu.rx_len = ctx->apdu_buf_len;

	int result_code = cmds_submit_apdu(ctx);

	if(result_code != OPTIGA_STATUS_CODE_SUCCESS) {
		LOG_INF("GetDataObject Error Code: %d", result_code);
		return -EIO;
	}

	/* Parse response */

	/* need at least the 4 bytes of response data */
	__ASSERT(ctx->apdu.rx_len >= 4, "Malformed APDU");

	u8_t *rx_buf = ctx->apdu.rx_buf;

	u8_t sta = 0;
	u16_t out_len = 0;
	rx_buf += cmds_get_apdu_header(rx_buf, &sta, &out_len);

	/* Failed APDUs should never reach this layer */
	__ASSERT(sta == 0x00, "Unexpected failed APDU");

	/* Ensure length of APDU and length of buffer match */
	if (out_len != (ctx->apdu.rx_len - OPTIGA_TRUSTX_OUT_DATA_OFFSET)) {
		LOG_ERR("Incomplete APDU");
		return -EIO;
	}

	__ASSERT(rx_buf[0] == 0x02, "Received Key not a pub key");

	// TODO(chr): decide if we can skip ASN.1 decoding
	/* the following decoding routine only works if the public key has a fixed length */
	__ASSERT(out_len == (*pub_key_len + 7), "Assumption about pub key encoding was wrong");
	rx_buf += 3; // skip tag and length
	rx_buf += 4; // skip ASN.1 tag, length and 2 value bytes
	memcpy(pub_key, rx_buf, *pub_key_len);

	return 0;
}

/* Tags for CalcHash command, see Table 16 */
enum OPTIGA_TRUSTX_CALC_HASH_TAGS {
	OPTIGA_TRUSTX_CALC_HASH_START = 0x00,
	OPTIGA_TRUSTX_CALC_HASH_START_FINAL = 0x01,
	OPTIGA_TRUSTX_CALC_HASH_CONTINUE = 0x02,
	OPTIGA_TRUSTX_CALC_HASH_FINAL = 0x03,
	OPTIGA_TRUSTX_CALC_HASH_TERMINATE = 0x04,
	OPTIGA_TRUSTX_CALC_HASH_FINAL_KEEP = 0x05,
	OPTIGA_TRUSTX_CALC_HASH_OID_START = 0x10,
	OPTIGA_TRUSTX_CALC_HASH_OID_START_FINAL = 0x11,
	OPTIGA_TRUSTX_CALC_HASH_OID_CONTINUE = 0x12,
	OPTIGA_TRUSTX_CALC_HASH_OID_FINAL = 0x13,
	OPTIGA_TRUSTX_CALC_HASH_OID_FINAL_KEEP = 0x15,
};

int optrust_sha256_oid(struct optrust_ctx *ctx,
				u16_t oid, size_t offs, size_t len,
				u8_t *digest, size_t *digest_len)
{
	__ASSERT(ctx != NULL && digest != NULL && digest_len != NULL, "No NULL parameters allowed");
	__ASSERT(ctx->apdu_buf_len >= (OPTIGA_TRUSTX_IN_DATA_OFFSET + 9), "APDU buffer too small");

	if (offs > UINT16_MAX || len > UINT16_MAX) {
		/* Overflow in Offset and Length field */
		return -EINVAL;
	}

	u8_t *tx_buf = ctx->apdu_buf;
	tx_buf += cmds_set_apdu_header(tx_buf,
				OPTIGA_TRUSTX_CMD_CALC_HASH,
                OPTRUST_ALGORITHM_SHA256, /* Param */
				9 /* Length of the Tx APDU */
			);

	/* Tag */
	*tx_buf = OPTIGA_TRUSTX_CALC_HASH_OID_START_FINAL;
	tx_buf += 1;

	/* Length */
	sys_put_be16(0x06, tx_buf);
	tx_buf += 2;

	/* OID */
	sys_put_be16(oid, tx_buf);
	tx_buf += 2;

	/* Offset */
	sys_put_be16(offs, tx_buf);
	tx_buf += 2;

	/* Length */
	sys_put_be16(len, tx_buf);
	tx_buf += 2;

	/* Setup APDU for cmd queue */
	ctx->apdu.tx_buf = ctx->apdu_buf;
	ctx->apdu.tx_len = tx_buf - ctx->apdu_buf;
	ctx->apdu.rx_buf = tx_buf;
	ctx->apdu.rx_len = ctx->apdu_buf_len - ctx->apdu.tx_len;

	int result_code = cmds_submit_apdu(ctx);

	if(result_code != OPTIGA_STATUS_CODE_SUCCESS) {
		LOG_INF("SetDataObject Error Code: %d", result_code);
		return -EIO;
	}

	/* Parse response */

	/* need at least the 4 bytes of response data */
	__ASSERT(ctx->apdu.rx_len >= 4, "Malformed APDU");

	u8_t *rx_buf = ctx->apdu.rx_buf;

	u8_t sta = 0;
	u16_t out_len = 0;
	rx_buf += cmds_get_apdu_header(rx_buf, &sta, &out_len);

	/* Failed APDUs should never reach this layer */
	__ASSERT(sta == 0x00, "Unexpected failed APDU");
	__ASSERT(out_len == (OPTRUST_SHA256_DIGEST_LEN + 3), "Unexpected data returned");

	/* Skip Tag + Length */
	rx_buf += 3;
	out_len -= 3;

	if (*digest_len < out_len) {
		return -ENOMEM;
	}

	memcpy(digest, rx_buf, out_len);

	return 0;
}
```
